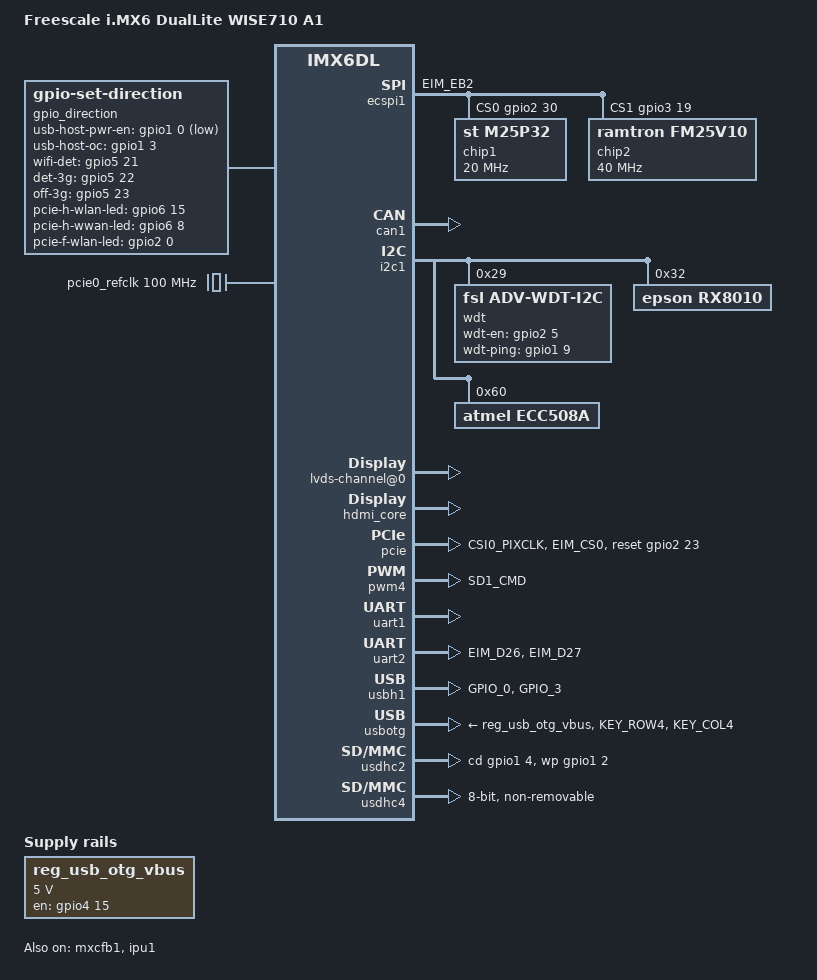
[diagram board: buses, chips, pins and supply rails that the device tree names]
/*
 * Copyright 2012 Freescale Semiconductor, Inc.
 * Copyright 2011 Linaro Ltd.
 *
 * The code contained herein is licensed under the GNU General Public
 * License. You may obtain a copy of the GNU General Public License
 * Version 2 or later at the following locations:
 *
 * http://www.opensource.org/licenses/gpl-license.html
 * http://www.gnu.org/copyleft/gpl.html
 */

/dts-v1/;

#include "imx6dl.dtsi"
#include "imx6dl-advantech.dtsi"

/ {
	model = "Freescale i.MX6 DualLite WISE710 A1";
	compatible = "fsl,imx6dl-sabresd", "fsl,imx6dl";

	aliases {
		mmc0 = &usdhc4;
		mmc3 = &usdhc1;
	};

	board {
		compatible = "proc-board";
		board-type = "WISE-710-A2";
		board-cpu = "DualLiteSolo";
	};

	regulators {
		reg_usb_otg_vbus: usb_otg_vbus {
			compatible = "regulator-fixed";
			regulator-name = "usb_otg_vbus";
			regulator-min-microvolt = <5000000>;
			regulator-max-microvolt = <5000000>;
			gpio = <&gpio4 15  GPIO_ACTIVE_HIGH>;
			enable-active-high;
		};
	};

	leds {
		compatible = "gpio-leds";
		pinctrl-names = "default";
		pinctrl-0 = <&pinctrl_leds_debug_1>;
		/*	
		debug-led {
			label = "Heartbeat";
			gpios = <&gpio7 12 0>;
			linux,default-trigger = "heartbeat";
		};
		*/
	};

	gpio_direction {
		pinctrl-names = "default";
		compatible = "gpio-set-direction";
		usb-host-pwr-en = <&gpio1 0 1>;
		usb-host-oc = <&gpio1 3 0>;
		wifi-det = <&gpio5 21 0>;
		det-3g = <&gpio5 22 0>;
		off-3g = <&gpio5 23 0>;
		pcie-h-wlan-led = <&gpio6 15 0>;
		pcie-h-wwan-led = <&gpio6 8 0>;
		pcie-f-wlan-led = <&gpio2 0 0>;
		pcie-f-wwan-led = <&gpio2 4 0>;
	};

	/* Fixed pcie clock. */
	pcie0_refclk: pcie0-refclk {
		compatible = "fixed-clock";
		#clock-cells = <0>;
		clock-frequency = <100000000>;
	};
};

&audio_sgtl5000 {
	status = "disabled";
};

&audmux {
	status = "disabled";
};

&bkl {
	status = "disable";
};

&ecspi1 {
	fsl,spi-num-chipselects = <2>;
	cs-gpios = <&gpio2 30 0>, <&gpio3 19 0>;
	pinctrl-names = "default";
	pinctrl-0 = <&pinctrl_ecspi1_1 &pinctrl_ecspi1_cs_0 &pinctrl_ecspi1_cs_1>;
	status = "okay";

	chip1: m25p80@0 {
		compatible = "st,m25p32";
		spi-max-frequency = <20000000>;
		reg = <0>;
	};
	chip2: fm25@1 {
		compatible = "ramtron,fm25v10";
		spi-max-frequency = <40000000>;
		reg = <1>;
	};
};

&can1 {
	pinctrl-names = "default";
	pinctrl-0 = <&pinctrl_flexcan1_1>;
	status = "okay";
};

&i2c1 {
	wdt@29 {
		compatible = "fsl,adv-wdt-i2c";
		pinctrl-names = "default";
		pinctrl-0 = <&pinctrl_wdt_en_1 &pinctrl_wdt_ping_1>;
		status = "okay";
		wdt-en = <&gpio2 5 0>;
		wdt-ping = <&gpio1 9 0>;
		reg = <0x29>;
	};

	rx8010@32 {
		compatible = "epson,rx8010";
		reg = <0x32>;
	};

	ecc508a@60 {
		compatible = "atmel,ecc508a";
		reg = <0x60>;
	};
};

&i2c2 {
	status = "disabled";
};

&i2c3 {
	status = "disabled";
};

&iomuxc {
	pinctrl-names = "default";
	pinctrl-0 = <&pinctrl_hog_1 &pinctrl_hog_2>;

	hog {
		pinctrl_hog_1: hoggrp-1 {
			fsl,pins = <
				MX6QDL_PAD_GPIO_2__GPIO1_IO02		0x80000000	/* SD card - SD2_WP */
				MX6QDL_PAD_GPIO_4__GPIO1_IO04		0x80000000	/* SD card - SD2_CD */
				MX6QDL_PAD_EIM_D30__GPIO3_IO30		0x0001B0B0	/* BORAD_ID0 */
				MX6QDL_PAD_EIM_D31__GPIO3_IO31		0x000130B0	/* BORAD_ID1 */
			>;
		};

		pinctrl_hog_2: hoggrp-2 {
			fsl,pins = <
				MX6QDL_PAD_CSI0_VSYNC__GPIO5_IO21	0x0001B0B0	/* WIFI_DET# */
				MX6QDL_PAD_CSI0_DAT4__GPIO5_IO22	0x0001B0B0	/* 3G_DET# */
				MX6QDL_PAD_CSI0_DAT5__GPIO5_IO23	0x0001B0B0	/* 3G_OFF# */
				MX6QDL_PAD_NANDF_CS2__GPIO6_IO15	0x0001B0B0	/* PCIE_H_WLAN_LED# */
				MX6QDL_PAD_NANDF_ALE__GPIO6_IO08	0x0001B0B0	/* PCIE_H_WWAN_LED# */
				MX6QDL_PAD_NANDF_D0__GPIO2_IO00		0x0001B0B0	/* PCIE_F_WLAN_LED# */
				MX6QDL_PAD_NANDF_D4__GPIO2_IO04		0x00017059	/* PCIE_F_WWAN_LED# */
			>;
		};
	};

	leds {
		pinctrl_leds_debug_1: leds_debug1grp-1{
			fsl,pins = <
				MX6QDL_PAD_GPIO_5__GPIO1_IO05 		0x80000000	/* gpio - com1_sel0 */
				MX6QDL_PAD_GPIO_6__GPIO1_IO06 		0x80000000	/* gpio - com1_sel1 */
				MX6QDL_PAD_GPIO_17__GPIO7_IO12		0x000130B0 	/* gpio - led */
				MX6QDL_PAD_ENET_RXD0__GPIO1_IO27	0x80000000	/* DIO1(GPIO27) */
				MX6QDL_PAD_ENET_TXD1__GPIO1_IO29	0x80000000  /* DIO2(GPIO29) */
				MX6QDL_PAD_ENET_CRS_DV__GPIO1_IO25	0x80000000  /* DIO3(GPIO25) */
				MX6QDL_PAD_ENET_TXD0__GPIO1_IO30	0x80000000  /* DIO4(GPIO30) */
				MX6QDL_PAD_GPIO_19__GPIO4_IO05		0x80000000  /* DIO5(GPIO101) */
				MX6QDL_PAD_GPIO_7__GPIO1_IO07		0x80000000  /* DIO6(GPIO7) */
				MX6QDL_PAD_GPIO_8__GPIO1_IO08		0x80000000  /* DIO7(GPIO8) */
				MX6QDL_PAD_GPIO_18__GPIO7_IO13		0x80000000  /* DIO8(GPIO205) */
				MX6QDL_PAD_KEY_COL0__GPIO4_IO06		0x000130B0 	/* AI - MCU_INT */
				MX6QDL_PAD_KEY_ROW0__GPIO4_IO07		0x000130B0	/* AI - COM_INT */
			>;
		};
	};

	pcie {
		pinctrl_pcie_1: pcie1grp-1 {
			fsl,pins = <
				MX6QDL_PAD_CSI0_PIXCLK__GPIO5_IO18	0x80000000	/* PCIE disable pin - WIFI_OFF# */
				MX6QDL_PAD_EIM_CS0__GPIO2_IO23      0x80000000  /* PCIE reset pin */
			>;
		};
	};

	pwm4 {
		pinctrl_pwm4_1: pwm4grp-1 {
			fsl,pins = <
				MX6QDL_PAD_SD1_CMD__PWM4_OUT		0x1b0b1
			>;
		};
	};

	spi1 {
		pinctrl_ecspi1_cs_0: ecspi1_cs_grp-0 {
			fsl,pins = <
				MX6QDL_PAD_EIM_EB2__GPIO2_IO30		0x80000000	/* ECSPI1_CS0 */
			>;
		};
	};

	uart2 {
		pinctrl_uart2_3: uart2grp-3 { /* DCE mode */
			fsl,pins = <
				MX6QDL_PAD_EIM_D26__UART2_TX_DATA		0x1b0b1
				MX6QDL_PAD_EIM_D27__UART2_RX_DATA		0x1b0b1
			>;
		};
	};

	usbh1 {
		pinctrl_usbh1_1: usbh1_grp-1 {
			fsl,pins = <
				MX6QDL_PAD_GPIO_0__GPIO1_IO00		0x00017099	/* USB_HOST_PWR_EN */
				MX6QDL_PAD_GPIO_3__GPIO1_IO03		0x0001B8B1	/* USB_HOST_OC# */
			>;
		};
	};

	usbotg {
		pinctrl_usbotg_pwr_1: usbotg_pwr_grp-1 {
			fsl,pins = <
				MX6QDL_PAD_KEY_ROW4__GPIO4_IO15		0x80000000	/* USB_OTG_PWR */
				MX6QDL_PAD_KEY_COL4__GPIO4_IO14		0x0001B0B0	/* USB_OTG_OC */
			>;
		};
	};

	wdt{
		pinctrl_wdt_en_1: wdt_engrp-1 {
			fsl,pins = <
				MX6QDL_PAD_NANDF_D5__GPIO2_IO05		0x80000000
			>;
		};

		pinctrl_wdt_ping_1: wdt_pinggrp-1 {
			fsl,pins = <
				MX6QDL_PAD_GPIO_9__GPIO1_IO09		0x80000000
			>;
		};
	};
};

&ldb {
	lvds-channel@0 {
		crtc = "ipu1-di0";
	};

	lvds-channel@1 {
		status ="disabled";
	};
};

&hdmi_core {
	ipu_id = <0>;
	disp_id = <1>;
	status = "okay";
};

&mxcfb1 {
	status = "okay";
};

&mxcfb3 {
	status = "okay";
};

&pcie {
	pinctrl-names = "default";
	pinctrl-0 = <&pinctrl_pcie_1>;
	disable-gpio = <&gpio5 18 0>;
	reset-gpio = <&gpio2 23 0>;
//	epdev_on-supply = <&epdev_on>;
	vpcie-supply = <&reg_pcie>;
	status = "okay";
};

&pwm4 {
	pinctrl-names = "default";
	pinctrl-0 = <&pinctrl_pwm4_1>;
	status = "okay";

};

&ssi2 {
	status = "disabled";
};

&uart1 {
	pinctrl-names = "default";
	pinctrl-0 = <&pinctrl_uart1_1>;
	status = "okay";
};

&uart2 {
	pinctrl-names = "default";
	pinctrl-0 = <&pinctrl_uart2_3>;
	fsl,uart-has-rtscts;
	status = "okay";
};

&usbh1 {
	pinctrl-names = "default";
	pinctrl-0 = <&pinctrl_usbh1_1>;
	status = "okay";
};

&usbotg {
	pinctrl-names = "default";
	pinctrl-0 = <&pinctrl_usbotg_1 &pinctrl_usbotg_pwr_1>;
	vbus-supply = <&reg_usb_otg_vbus>;
	imx6-usb-charger-detection;
	status = "okay";
};

&usdhc2 {
	pinctrl-names = "default";
	pinctrl-0 = <&pinctrl_usdhc2_2>;
	cd-gpios = <&gpio1 4 0>;
	wp-gpios = <&gpio1 2 0>;
	no-1-8-v;
	keep-power-in-suspend;
	enable-sdio-wakeup;
	status = "okay";
};

&usdhc4 {
	pinctrl-names = "default";
	pinctrl-0 = <&pinctrl_usdhc4_1>;
	bus-width = <8>;
	non-removable;
	no-1-8-v;
	keep-power-in-suspend;
	status = "okay";
};

&wdog1 {
	status = "disabled";
};

&mxcfb1 {
	compatible = "fsl,mxc_sdc_fb";
	disp_dev = "ldb";
	interface_pix_fmt = "RGB24";
	default_bpp = <32>;
	int_clk = <0>;
	late_init = <1>;
	fb_base = <0x27800000>;
	fb_size = <0x01800000>;
	status = "okay";
};

&mxcfb3 {
	status ="disabled";
};

//	primary;
&ldb {                        
	lvds-channel@0 {
		crtc = "ipu1-di0";
		status = "okay";
	};

	lvds-channel@1 {
		status = "disabled";
	};
};

&pmu {
	status = "okay";
};

&ipu1 {
	bypass_reset = <1>;
	status = "okay";
};

